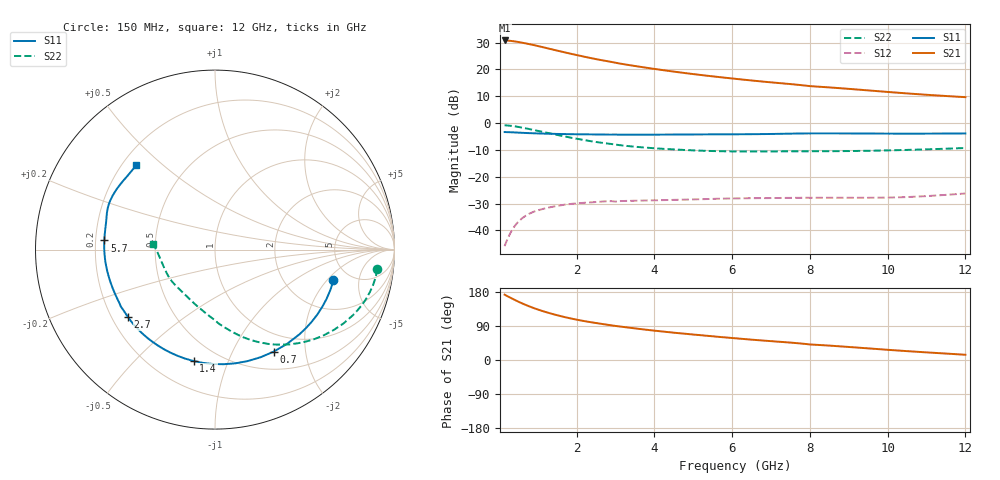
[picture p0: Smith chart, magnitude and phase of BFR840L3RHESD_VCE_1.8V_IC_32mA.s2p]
! Infineon Technologies  Discrete & RF Semiconductors
! BFR840L3RHESD
! VCE =  1.8 V,  IC =  32 mA
! Common Emitter S-Parameters:  Jun 2012
# GHz  S  MA  R  50
!  f  S11  S21  S12  S22
! GHz  MAG  ANG  MAG  ANG  MAG  ANG  MAG  ANG
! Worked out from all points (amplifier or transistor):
!   91 points, 150 MHz to 12 GHz, reference 50 ohm
!   highest |S21| = 30.8 dB at 150 MHz (marker M1)
!   |S21| within 3 dB of that: start of sweep to 1.276 GHz
!   unconditionally stable (mu >= 1): 5.737 GHz to end of sweep
!   at 1.3 GHz: K = 0.27, MSG = 29.6 dB, |S12| = -31.4 dB
!   at 4.3 GHz: K = 0.78, MSG = 24.1 dB, |S12| = -28.7 dB
!   at 12 GHz: K = 1.88, MAG = 12.6 dB, |S12| = -26.2 dB
!   S11 on the Smith chart (normalised r, x): 150 MHz: 3.70, -2.36; 700 MHz: 0.73, -1.46; 1.4 GHz: 0.37, -0.76; 2.7 GHz: 0.27, -0.32; 5.7 GHz: 0.24, +0.04; 12 GHz: 0.26, +0.41
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0.15  0.6819 -14.5  34.76 172.4  0.0051 81.7  0.9116 -6.8
0.3  0.6774 -28.2  34.15 164.3  0.009 73.4  0.8947 -15.4
0.45  0.6694 -40.9  33 156.6  0.0132 67.4  0.8635 -23.0
0.6  0.6609 -52.7  31.6 149.4  0.0169 63.0  0.8256 -29.9
0.7  0.6558 -60.1  30.59 145.0  0.019 60.5  0.799 -34.1
0.8  0.6512 -67.1  29.55 140.9  0.0208 58.0  0.7723 -38.1
1  0.6437 -79.8  27.43 133.4  0.0237 53.1  0.7202 -45.4
1.2  0.6375 -91.0  25.36 126.8  0.0259 48.4  0.6712 -51.9
1.4  0.6322 -100.8  23.42 120.9  0.0278 44.2  0.6258 -57.7
1.6  0.6275 -109.4  21.64 115.6  0.0295 41.0  0.5843 -62.9
1.8  0.6237 -117.1  20.05 110.8  0.0309 38.8  0.5467 -67.7
2.2  0.6188 -129.9  17.31 102.7  0.0328 36.1  0.4835 -76.0
2.7  0.6134 -142.4  14.67 94.4  0.0348 30.7  0.426 -84.8
3  0.6131 -148.9  13.38 89.9  0.0345 32.0  0.3997 -89.0
3.4  0.6091 -156.2  11.94 84.7  0.0357 29.0  0.3698 -95.2
4.2  0.6117 -167.8  9.782 75.3  0.0368 28.6  0.3335 -106.1
5.7  0.6188 175.3  7.181 60.7  0.0391 27.8  0.3 -125.1
6.1  0.6204 171.6  6.684 57.2  0.0396 27.8  0.2972 -130.0
8  0.6444 155.2  4.9 41.1  0.0407 29.8  0.2992 -154.1
8.5  0.6448 152.0  4.637 38.0  0.0407 30.0  0.3 -158.4
10.5  0.6375 139.5  3.582 23.4  0.0419 37.2  0.3173 -175.6
12  0.6434 133.1  3.05 13.8  0.0489 43.0  0.3446 174.8
